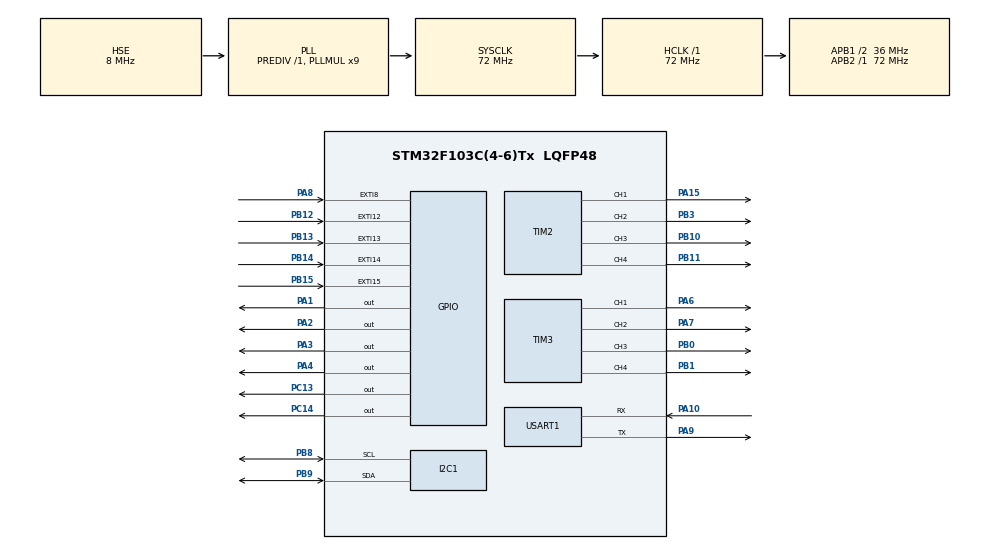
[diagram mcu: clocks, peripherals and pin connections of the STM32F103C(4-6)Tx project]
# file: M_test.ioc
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Mcu.Family=STM32F1
Mcu.Name=STM32F103C(4-6)Tx
Mcu.Package=LQFP48
NVIC.EXTI15_10_IRQn=true\:0\:0\:false\:false\:true\:true\:true\:true
NVIC.PriorityGroup=NVIC_PRIORITYGROUP_4
NVIC.USART1_IRQn=true\:0\:0\:false\:false\:true\:true\:true\:true
PA1.Signal=GPIO_Output
PA10.Mode=Asynchronous
PA10.Signal=USART1_RX
PA13.Mode=Serial_Wire
PA13.Signal=SYS_JTMS-SWDIO
PA14.Mode=Serial_Wire
PA14.Signal=SYS_JTCK-SWCLK
PA15.Signal=S_TIM2_CH1_ETR
PA2.Signal=GPIO_Output
PA3.Signal=GPIO_Output
PA4.Signal=GPIO_Output
PA6.Signal=S_TIM3_CH1
PA7.Signal=S_TIM3_CH2
PA8.Signal=GPXTI8
PA9.Mode=Asynchronous
PA9.Signal=USART1_TX
PB0.Signal=S_TIM3_CH3
PB1.Signal=S_TIM3_CH4
PB10.Signal=S_TIM2_CH3
PB11.Signal=S_TIM2_CH4
PB12.GPIO_ModeDefaultEXTI=GPIO_MODE_IT_FALLING
PB12.Signal=GPXTI12
PB13.GPIO_ModeDefaultEXTI=GPIO_MODE_IT_FALLING
PB13.Signal=GPXTI13
PB14.GPIO_ModeDefaultEXTI=GPIO_MODE_IT_FALLING
PB14.Signal=GPXTI14
PB15.GPIO_ModeDefaultEXTI=GPIO_MODE_IT_FALLING
PB15.Signal=GPXTI15
PB3.Signal=S_TIM2_CH2
PB8.Mode=I2C
PB8.Signal=I2C1_SCL
PB9.Mode=I2C
PB9.Signal=I2C1_SDA
PC13-TAMPER-RTC.Signal=GPIO_Output
PC14-OSC32_IN.Signal=GPIO_Output
PD0-OSC_IN.Mode=HSE-External-Oscillator
PD0-OSC_IN.Signal=RCC_OSC_IN
PD1-OSC_OUT.Mode=HSE-External-Oscillator
PD1-OSC_OUT.Signal=RCC_OSC_OUT
ProjectManager.HeapSize=0x200
ProjectManager.StackSize=0x400
ProjectManager.TargetToolchain=MDK-ARM V5.32
RCC.AHBFreq_Value=72000000
RCC.APB1CLKDivider=RCC_HCLK_DIV2
RCC.APB1Freq_Value=36000000
RCC.APB1TimFreq_Value=72000000
RCC.APB2Freq_Value=72000000
RCC.APB2TimFreq_Value=72000000
RCC.HCLKFreq_Value=72000000
RCC.PLLMUL=RCC_PLL_MUL9
RCC.PLLSourceVirtual=RCC_PLLSOURCE_HSE
RCC.SYSCLKFreq_VALUE=72000000
RCC.SYSCLKSource=RCC_SYSCLKSOURCE_PLLCLK
RCC.USBFreq_Value=72000000
SH.S_TIM2_CH1_ETR.0=TIM2_CH1,PWM Generation1 CH1
SH.S_TIM2_CH2.0=TIM2_CH2,PWM Generation2 CH2
SH.S_TIM2_CH3.0=TIM2_CH3,PWM Generation3 CH3
SH.S_TIM2_CH4.0=TIM2_CH4,PWM Generation4 CH4
SH.S_TIM3_CH1.0=TIM3_CH1,PWM Generation1 CH1
SH.S_TIM3_CH2.0=TIM3_CH2,PWM Generation2 CH2
SH.S_TIM3_CH3.0=TIM3_CH3,PWM Generation3 CH3
SH.S_TIM3_CH4.0=TIM3_CH4,PWM Generation4 CH4
TIM2.Channel-PWM\ Generation1\ CH1=TIM_CHANNEL_1
TIM2.Channel-PWM\ Generation2\ CH2=TIM_CHANNEL_2
TIM2.Channel-PWM\ Generation3\ CH3=TIM_CHANNEL_3
TIM2.Channel-PWM\ Generation4\ CH4=TIM_CHANNEL_4
TIM3.Channel-PWM\ Generation1\ CH1=TIM_CHANNEL_1
TIM3.Channel-PWM\ Generation2\ CH2=TIM_CHANNEL_2
TIM3.Channel-PWM\ Generation3\ CH3=TIM_CHANNEL_3
TIM3.Channel-PWM\ Generation4\ CH4=TIM_CHANNEL_4
USART1.VirtualMode=VM_ASYNC
board=custom

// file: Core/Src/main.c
/* USER CODE BEGIN Header */
/**
  ******************************************************************************
  * @file           : main.c
  * @brief          : Main program body
  ******************************************************************************
  * @attention
  *
  * Copyright (c) 2022 STMicroelectronics.
  * All rights reserved.
  *
  * This software is licensed under terms that can be found in the LICENSE file
  * in the root directory of this software component.
  * If no LICENSE file comes with this software, it is provided AS-IS.
  *
  ******************************************************************************
  */
/* USER CODE END Header */
#include "main.h"
#include "i2c.h"
#include "tim.h"
#include "usart.h"
#include "gpio.h"

/* USER CODE BEGIN Includes */
#include "IIC.h"
#include "mpu6050.h"
#include "inv_mpu.h"
#include "inv_mpu_dmp_motion_driver.h"
#include "stdio.h"
#include "Motor.h"
#include "Sensor.h"
#include "Second.h"
/* USER CODE END Includes */

/* USER CODE BEGIN PM */
#include <string.h>
#define RXBUFFERSIZE  2     //大接收字节数
char RxBuffer[RXBUFFERSIZE];   //接收数据
uint8_t aRxBuffer;			//接收中断缓冲
uint8_t Uart1_Rx_Cnt = 0;		//接收缓冲计数
/* USER CODE END PM */

void SystemClock_Config(void);
/* USER CODE BEGIN PFP */
int autoFlag = 0;
/* USER CODE END PFP */

/* USER CODE BEGIN 0 */
void serialRes(void);
/* USER CODE END 0 */

int main(void)
{
  /* USER CODE BEGIN 1 */
	float pitch,roll,yaw;
  /* USER CODE END 1 */

  /* MCU Configuration--------------------------------------------------------*/

  /* Reset of all peripherals, Initializes the Flash interface and the Systick. */
  HAL_Init();

  /* Configure the system clock */
  SystemClock_Config();

  /* Initialize all configured peripherals */
  MX_GPIO_Init();
  MX_TIM3_Init();
  MX_I2C1_Init();
  MX_USART1_UART_Init();
  MX_TIM2_Init();
  /* USER CODE BEGIN 2 */

	MPU_Init();			//MPU6050
  mpu_dmp_init();		//dmp
	motorInit();
	printf("init\r\n");
	motorForward();
	HAL_UART_Receive_IT(&huart1, &aRxBuffer, 1);
  /* USER CODE END 2 */

  /* Infinite loop */
  while (1)
  {

  }
}

void SystemClock_Config(void)
{
  RCC_OscInitTypeDef RCC_OscInitStruct = {0};
  RCC_ClkInitTypeDef RCC_ClkInitStruct = {0};

  /** Initializes the RCC Oscillators according to the specified parameters
  * in the RCC_OscInitTypeDef structure.
  */
  RCC_OscInitStruct.OscillatorType = RCC_OSCILLATORTYPE_HSE;
  RCC_OscInitStruct.HSEState = RCC_HSE_ON;
  RCC_OscInitStruct.HSEPredivValue = RCC_HSE_PREDIV_DIV1;
  RCC_OscInitStruct.HSIState = RCC_HSI_ON;
  RCC_OscInitStruct.PLL.PLLState = RCC_PLL_ON;
  RCC_OscInitStruct.PLL.PLLSource = RCC_PLLSOURCE_HSE;
  RCC_OscInitStruct.PLL.PLLMUL = RCC_PLL_MUL9;
  if (HAL_RCC_OscConfig(&RCC_OscInitStruct) != HAL_OK)
  {
    Error_Handler();
  }

  /** Initializes the CPU, AHB and APB buses clocks
  */
  RCC_ClkInitStruct.ClockType = RCC_CLOCKTYPE_HCLK|RCC_CLOCKTYPE_SYSCLK
                              |RCC_CLOCKTYPE_PCLK1|RCC_CLOCKTYPE_PCLK2;
  RCC_ClkInitStruct.SYSCLKSource = RCC_SYSCLKSOURCE_PLLCLK;
  RCC_ClkInitStruct.AHBCLKDivider = RCC_SYSCLK_DIV1;
  RCC_ClkInitStruct.APB1CLKDivider = RCC_HCLK_DIV2;
  RCC_ClkInitStruct.APB2CLKDivider = RCC_HCLK_DIV1;

  if (HAL_RCC_ClockConfig(&RCC_ClkInitStruct, FLASH_LATENCY_2) != HAL_OK)
  {
    Error_Handler();
  }
}

/* USER CODE BEGIN 4 */
#if 1
void HAL_UART_RxCpltCallback(UART_HandleTypeDef *huart)
{
  /* Prevent unused argument(s) compilation warning */
  //UNUSED(huart);
  /* NOTE: This function Should not be modified, when the callback is needed,
           the HAL_UART_TxCpltCallback could be implemented in the user file
   */

	if(Uart1_Rx_Cnt >= 1)  //溢出判断
	{
		Uart1_Rx_Cnt = 0;
		memset(RxBuffer,0x00,sizeof(RxBuffer));
		//HAL_UART_Transmit(&huart1, (uint8_t *)"数据溢出", 10,0xFFFF);

	}
	else
	{
		RxBuffer[Uart1_Rx_Cnt++] = aRxBuffer;   //接收数据转存
	}
	serialRes();
	//printf("done");
	HAL_UART_Receive_IT(&huart1, (uint8_t *)&aRxBuffer, 1);   //再开启接收中�?
}

#endif

void serialRes(void){

		if (RxBuffer[0] == 'S')
		{
			if(autoFlag)
			{
				autoFlag = 0;
			}
			else{
				autoFlag = 1;
			}
		}
		else if(RxBuffer[0] == 'M'&&!autoFlag)
		{
		if(RxBuffer[1] == 'F')
				motorForward();
			else if(RxBuffer[1] == 'B')
				motorBack();
			else if(RxBuffer[1] == 'L')
				motorLeft();
			else if(RxBuffer[1] == 'R')
				motorRight();
			else if(RxBuffer[1] == 'S')
				motorStop();
		}
		else if(RxBuffer[0] == 'F'){
			Fire();
		}
		else if(RxBuffer[0] == 'A'){
			if(RxBuffer[1] == 'E')
				Catch();
			else if(RxBuffer[1] == 'D')
				unCatch();
		}
		memset(RxBuffer,0x00,sizeof(RxBuffer));
}
/* USER CODE END 4 */

void Error_Handler(void)
{
  __disable_irq();
  while (1)
  {
  }
}
